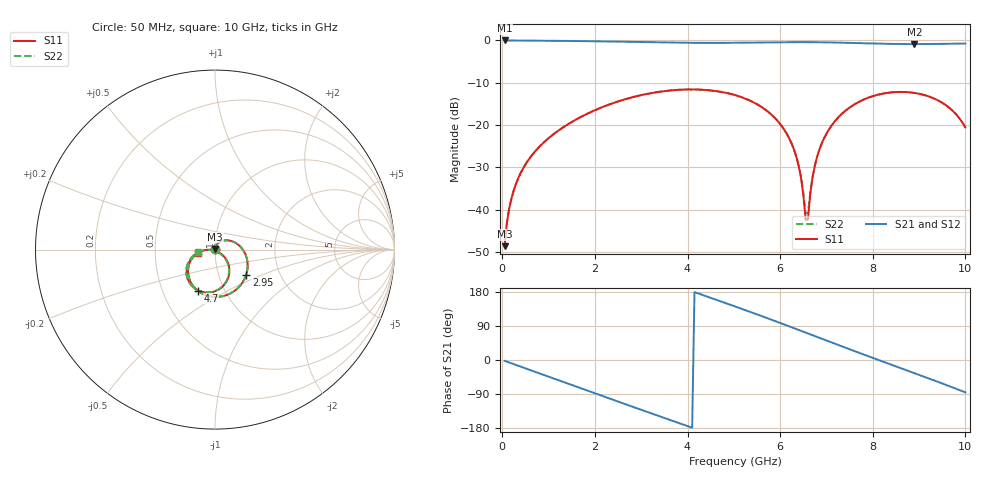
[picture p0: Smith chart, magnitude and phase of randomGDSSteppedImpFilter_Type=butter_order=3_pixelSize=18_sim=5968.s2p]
! freq	dB(S11)	phase(S11)	dB(S12)	phase(S12)
!  dB(S21)	phase(S21)	dB(S22)	phase(S22)
!S-par simulation data
#  GHz  S  DB  R 50
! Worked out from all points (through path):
!   200 points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, 50 MHz to 10 GHz, reference 50 ohm
!   highest |S21| = 0.00 dB at 50 MHz (marker M1); lowest = -0.9 dB at 8.9 GHz (marker M2)
!   group delay of S21, straight-line fit = 123 ps
!   lowest |S11| = -48.6 dB at 50 MHz (marker M3), VSWR 1.01, Z = 50.1 + j0.369 ohm
!   |S11| at or under -10 dB: start of sweep to end of sweep
!   |S22| runs from -48.6 to -11.6 dB; largest |S21 - S12| = 0
!   S11 on the Smith chart (normalised r, x): 50 MHz: 1.00, +0.01; 2.95 GHz: 1.35, -0.40; 4.7 GHz: 0.75, -0.36; 10 GHz: 0.83, -0.03
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0.05  -48.58 81.8  -0.00 -2.2  -0.00 -2.2  -48.58 81.7
0.2  -37.22 78.7  -0.01 -8.9  -0.01 -8.9  -37.22 78.7
0.5  -29.29 67.3  -0.04 -22.0  -0.04 -22.0  -29.29 67.3
1.75  -17.77 13.5  -0.16 -76.9  -0.16 -76.9  -17.77 13.4
2.35  -14.96 -12.7  -0.26 -103.2  -0.26 -103.2  -14.96 -12.7
2.95  -13.03 -38.7  -0.38 -129.3  -0.38 -129.3  -13.03 -38.7
3.4  -12.11 -58.0  -0.47 -148.7  -0.47 -148.7  -12.11 -58.0
4.05  -11.57 -85.5  -0.56 -176.6  -0.56 -176.6  -11.57 -85.5
4.7  -12.10 -112.9  -0.57 155.5  -0.57 155.5  -12.10 -112.9
5.05  -12.98 -127.7  -0.54 140.3  -0.54 140.3  -12.98 -127.7
5.7  -16.50 -155.4  -0.46 111.5  -0.46 111.5  -16.49 -155.0
6.15  -22.19 -173.4  -0.41 91.0  -0.41 91.0  -22.17 -172.5
6.4  -29.62 -178.9  -0.40 79.4  -0.40 79.4  -29.51 -176.4
6.55  -42.34 -141.7  -0.40 72.4  -0.40 72.4  -40.83 -136.6
6.6  -42.28 -71.5  -0.40 70.1  -0.40 70.1  -40.87 -78.5
6.7  -32.31 -36.5  -0.41 65.4  -0.41 65.4  -32.18 -40.9
6.9  -24.29 -37.3  -0.43 56.1  -0.43 56.1  -24.28 -39.2
7.25  -18.23 -50.5  -0.50 39.9  -0.50 39.9  -18.24 -51.7
8.35  -12.33 -98.0  -0.80 -10.1  -0.80 -10.1  -12.34 -98.9
8.9  -12.39 -121.6  -0.86 -34.6  -0.86 -34.6  -12.40 -122.7
9.55  -15.07 -149.7  -0.80 -64.2  -0.80 -64.2  -15.08 -151.4
10  -20.55 -168.4  -0.73 -85.5  -0.73 -85.5  -20.59 -171.7
